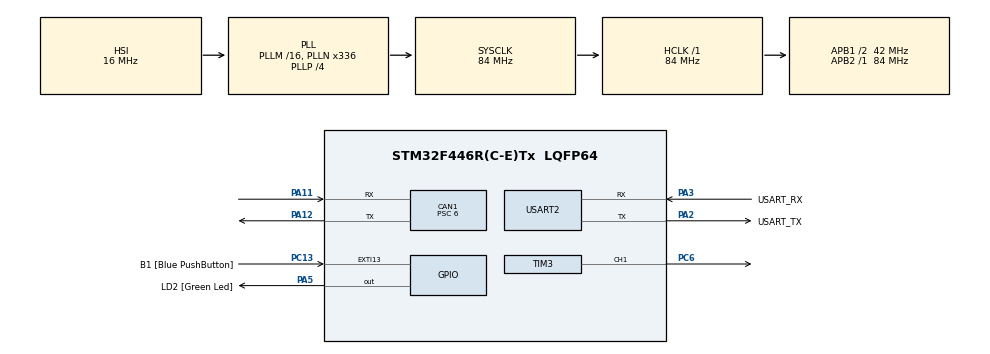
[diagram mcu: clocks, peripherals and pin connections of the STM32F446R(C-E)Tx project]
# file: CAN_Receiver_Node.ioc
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CAN1.ABOM=ENABLE
CAN1.BS1=CAN_BS1_11TQ
CAN1.BS2=CAN_BS2_2TQ
CAN1.CalculateBaudRate=500000
CAN1.CalculateTimeBit=2000
CAN1.CalculateTimeQuantum=142.85714285714286
CAN1.NART=ENABLE
CAN1.Prescaler=6
Mcu.Family=STM32F4
Mcu.Name=STM32F446R(C-E)Tx
Mcu.Package=LQFP64
NVIC.CAN1_RX0_IRQn=true\:0\:0\:false\:false\:true\:true\:true\:true
NVIC.PriorityGroup=NVIC_PRIORITYGROUP_0
PA11.Mode=CAN_Activate
PA11.Signal=CAN1_RX
PA12.Mode=CAN_Activate
PA12.Signal=CAN1_TX
PA13.GPIO_Label=TMS
PA13.Mode=Serial_Wire
PA13.Signal=SYS_JTMS-SWDIO
PA14.GPIO_Label=TCK
PA14.Mode=Serial_Wire
PA14.Signal=SYS_JTCK-SWCLK
PA2.GPIO_Label=USART_TX
PA2.Mode=Asynchronous
PA2.Signal=USART2_TX
PA3.GPIO_Label=USART_RX
PA3.Mode=Asynchronous
PA3.Signal=USART2_RX
PA5.GPIO_Label=LD2 [Green Led]
PA5.Signal=GPIO_Output
PB3.GPIO_Label=SWO
PB3.Signal=SYS_JTDO-SWO
PC13.GPIO_Label=B1 [Blue PushButton]
PC13.GPIO_ModeDefaultEXTI=GPIO_MODE_IT_FALLING
PC13.Signal=GPXTI13
PC14-OSC32_IN.Mode=LSE-External-Oscillator
PC14-OSC32_IN.Signal=RCC_OSC32_IN
PC15-OSC32_OUT.Mode=LSE-External-Oscillator
PC15-OSC32_OUT.Signal=RCC_OSC32_OUT
PC6.Signal=S_TIM3_CH1
PH0-OSC_IN.Mode=HSE-External-Oscillator
PH0-OSC_IN.Signal=RCC_OSC_IN
PH1-OSC_OUT.Mode=HSE-External-Oscillator
PH1-OSC_OUT.Signal=RCC_OSC_OUT
ProjectManager.HeapSize=0x200
ProjectManager.StackSize=0x400
ProjectManager.TargetToolchain=STM32CubeIDE
RCC.48MHZClocksFreq_Value=84000000
RCC.AHBFreq_Value=84000000
RCC.APB1CLKDivider=RCC_HCLK_DIV2
RCC.APB1Freq_Value=42000000
RCC.APB1TimFreq_Value=84000000
RCC.APB2Freq_Value=84000000
RCC.APB2TimFreq_Value=84000000
RCC.CortexFreq_Value=84000000
RCC.FLatency-AdvancedSettings=FLASH_LATENCY_2
RCC.HCLKFreq_Value=84000000
RCC.HSE_VALUE=8000000
RCC.HSI_VALUE=16000000
RCC.PLLN=336
RCC.PLLP=RCC_PLLP_DIV4
RCC.SYSCLKFreq_VALUE=84000000
RCC.SYSCLKSource=RCC_SYSCLKSOURCE_PLLCLK
RCC.USBFreq_Value=168000000
RCC.VCOOutputFreq_Value=336000000
SH.S_TIM3_CH1.0=TIM3_CH1,PWM Generation1 CH1
TIM3.Channel-PWM\ Generation1\ CH1=TIM_CHANNEL_1
TIM3.Period=20000-1
TIM3.Prescaler=84-1
USART2.VirtualMode=VM_ASYNC
VP_TIM3_VS_ClockSourceINT.Mode=Internal
board=NUCLEO-F446RE

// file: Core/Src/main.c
/* USER CODE BEGIN Header */
/**
  ******************************************************************************
  * RECEIVER NODE CODE
  * @file           : main.c
  * @brief          : CAN Receiver Node (Node B)
  ******************************************************************************
  */
/* USER CODE END Header */
#include "main.h"

/* USER CODE BEGIN Includes */
#include <stdio.h>
#include "crc8.h"
/* USER CODE END Includes */

CAN_HandleTypeDef hcan1;

TIM_HandleTypeDef htim3;

UART_HandleTypeDef huart2;

/* USER CODE BEGIN PV */
CAN_RxHeaderTypeDef rx_header;
uint8_t rx_data[8] = {0};
volatile uint8_t can_rx_flag = 0;

/* Day 9 integrity tracking */
static uint8_t  expected_counter = 0;
static uint8_t  first_frame      = 1;
uint32_t rx_received   = 0;
uint32_t rx_lost       = 0;
uint32_t rx_crc_errors = 0;

/* Heartbeat tracking */
volatile uint8_t hb_rx_flag = 0;
uint8_t  hb_rx_data[2] = {0};
uint32_t hb_count = 0;
uint32_t last_hb_tick = 0;

/* Servo PWM pulse widths (µs) — TIM3_CH1 CCR maps 1:1 to microseconds */
#define SERVO_HOME      1000   /* 0°   — boot reference/home position */
#define SERVO_NORMAL    1167   /* 30°  */
#define SERVO_WARNING   1333   /* 60°  */
#define SERVO_CRITICAL  1500   /* 90°  */
#define SERVO_SAFE      2000   /* 180° — fail-safe full-open */

/* Rate-limited movement: step size and delay bound inrush current so the
   SG90 can run off the Nucleo 5V rail without browning out the board. */
#define SERVO_STEP_US      20   /* µs of pulse change per step  */
#define SERVO_STEP_DELAY    5   /* ms between steps             */

static uint16_t servo_current_us = SERVO_HOME;  /* tracks last commanded position */

/* Safe-state / watchdog tracking */
#define HEARTBEAT_TIMEOUT_MS  500
#define WATCHDOG_GRACE_MS     1000   /* no safe-state entry during first second after boot */
static uint8_t  in_safe_state = 0;
uint32_t watchdog_trips = 0;
static uint32_t last_safe_blink = 0;
/* USER CODE END PV */

void SystemClock_Config(void);
static void MX_GPIO_Init(void);
static void MX_CAN1_Init(void);
static void MX_USART2_UART_Init(void);
static void MX_TIM3_Init(void);
/* USER CODE BEGIN PFP */
int _write(int file, char *ptr, int len);
void CAN_ReceiverInit(void);
void servo_write(uint16_t pulse_us);
void servo_move_to(uint16_t target_us);
/* USER CODE END PFP */

int main(void)
{

  /* MCU Configuration--------------------------------------------------------*/

  /* Reset of all peripherals, Initializes the Flash interface and the Systick. */
  HAL_Init();

  /* Configure the system clock */
  SystemClock_Config();

  /* Initialize all configured peripherals */
  MX_GPIO_Init();
  MX_CAN1_Init();
  MX_USART2_UART_Init();
  MX_TIM3_Init();
  /* USER CODE BEGIN 2 */
  printf("\r\n=== CAN_Receiver_Node (Node B) booted ===\r\n");

  CAN_ReceiverInit();

  HAL_TIM_PWM_Start(&htim3, TIM_CHANNEL_1);

  /* Home the servo to 0° as a known reference position, then move to NORMAL.
     Both moves are rate-limited to avoid browning out the Nucleo 5V rail. */
  servo_write(SERVO_HOME);          /* snap internal state to home  */
  HAL_Delay(400);                   /* let it settle visibly at 0°  */
  servo_move_to(SERVO_NORMAL);      /* gradual move to 30°          */
  printf("Servo homed to 0 deg, moved to NORMAL (30 deg) on TIM3_CH1 (PC6).\r\n");

  /* Seed the heartbeat timestamp so we don't trip safe state before the first beat */
  last_hb_tick = HAL_GetTick();

  printf("CAN ready. Validating CRC + counter integrity + heartbeat watchdog...\r\n\r\n");
  /* USER CODE END 2 */

  /* Infinite loop */
  while (1)
  {

    /* USER CODE BEGIN 3 */

      /* ---- Sensor frame handling (Day 9) ---- */
      if (can_rx_flag)
      {
          can_rx_flag = 0;

          uint8_t rx_counter = rx_data[0];
          uint8_t crc_calc   = crc8_compute(rx_data, 7);
          uint8_t crc_recv   = rx_data[7];

          if (crc_calc != crc_recv)
          {
              rx_crc_errors++;
              printf("[%lu ms] CRC FAIL cnt=%u recv=0x%02X calc=0x%02X | recv=%lu lost=%lu crcErr=%lu\r\n",
                     HAL_GetTick(), rx_counter, crc_recv, crc_calc,
                     rx_received, rx_lost, rx_crc_errors);
          }
          else
          {
              if (first_frame) {
                  first_frame = 0;
              } else {
                  uint8_t gap = (uint8_t)(rx_counter - expected_counter);
                  if (gap > 0) {
                      rx_lost += gap;
                      printf(">>> LOST %u frame(s) (expected %u, got %u)\r\n",
                             gap, expected_counter, rx_counter);
                  }
              }
              expected_counter = (uint8_t)(rx_counter + 1);
              rx_received++;

              int8_t  temp_int  = (int8_t)rx_data[1];
              uint8_t temp_frac = rx_data[2];
              uint8_t state     = rx_data[3];

              printf("[%lu ms] RX cnt=%u T=%d.%02u st=%u OK | recv=%lu lost=%lu crcErr=%lu\r\n",
                     HAL_GetTick(), rx_counter, temp_int, temp_frac, state,
                     rx_received, rx_lost, rx_crc_errors);
          }
      }

      /* ---- Heartbeat handling (Day 10) ---- */
      if (hb_rx_flag)
      {
          hb_rx_flag = 0;
          hb_count++;
          last_hb_tick = HAL_GetTick();
          printf("  <HB #%u recv @ %lu ms, uptime_lo=%u>\r\n",
                 hb_rx_data[0], last_hb_tick, hb_rx_data[1]);
      }

      /* ---- Heartbeat-timeout watchdog + safe state (Day 11) ---- */
      uint32_t now = HAL_GetTick();
      uint32_t since_hb = now - last_hb_tick;

      /* Grace period: no safe-state entry during the first second after boot. */
      if (now > WATCHDOG_GRACE_MS && since_hb > HEARTBEAT_TIMEOUT_MS)
      {
          if (!in_safe_state)
          {
              in_safe_state = 1;
              watchdog_trips++;
              printf("\r\n*** SAFE STATE: heartbeat timeout (%lu ms) — servo->SAFE, trips=%lu ***\r\n",
                     since_hb, watchdog_trips);
              servo_move_to(SERVO_SAFE);   /* gradual move to 180° fail-safe */
          }

          if (now - last_safe_blink >= 100)
          {
              last_safe_blink = now;
              HAL_GPIO_TogglePin(LD2_GPIO_Port, LD2_Pin);
          }
      }
      else
      {
          if (in_safe_state)
          {
              in_safe_state = 0;
              printf("\r\n*** RECOVERED: heartbeat restored — resuming normal operation ***\r\n");
          }

          switch (rx_data[3])
          {
              case 0:  servo_move_to(SERVO_NORMAL);   break;
              case 1:  servo_move_to(SERVO_WARNING);  break;
              case 2:  servo_move_to(SERVO_CRITICAL); break;
              default: servo_move_to(SERVO_NORMAL);   break;
          }
      }

      HAL_Delay(5);
  }
  /* USER CODE END 3 */
}

void SystemClock_Config(void)
{
  RCC_OscInitTypeDef RCC_OscInitStruct = {0};
  RCC_ClkInitTypeDef RCC_ClkInitStruct = {0};

  /** Configure the main internal regulator output voltage
  */
  __HAL_RCC_PWR_CLK_ENABLE();
  __HAL_PWR_VOLTAGESCALING_CONFIG(PWR_REGULATOR_VOLTAGE_SCALE3);

  /** Initializes the RCC Oscillators according to the specified parameters
  * in the RCC_OscInitTypeDef structure.
  */
  RCC_OscInitStruct.OscillatorType = RCC_OSCILLATORTYPE_HSI;
  RCC_OscInitStruct.HSIState = RCC_HSI_ON;
  RCC_OscInitStruct.HSICalibrationValue = RCC_HSICALIBRATION_DEFAULT;
  RCC_OscInitStruct.PLL.PLLState = RCC_PLL_ON;
  RCC_OscInitStruct.PLL.PLLSource = RCC_PLLSOURCE_HSI;
  RCC_OscInitStruct.PLL.PLLM = 16;
  RCC_OscInitStruct.PLL.PLLN = 336;
  RCC_OscInitStruct.PLL.PLLP = RCC_PLLP_DIV4;
  RCC_OscInitStruct.PLL.PLLQ = 2;
  RCC_OscInitStruct.PLL.PLLR = 2;
  if (HAL_RCC_OscConfig(&RCC_OscInitStruct) != HAL_OK)
  {
    Error_Handler();
  }

  /** Initializes the CPU, AHB and APB buses clocks
  */
  RCC_ClkInitStruct.ClockType = RCC_CLOCKTYPE_HCLK|RCC_CLOCKTYPE_SYSCLK
                              |RCC_CLOCKTYPE_PCLK1|RCC_CLOCKTYPE_PCLK2;
  RCC_ClkInitStruct.SYSCLKSource = RCC_SYSCLKSOURCE_PLLCLK;
  RCC_ClkInitStruct.AHBCLKDivider = RCC_SYSCLK_DIV1;
  RCC_ClkInitStruct.APB1CLKDivider = RCC_HCLK_DIV2;
  RCC_ClkInitStruct.APB2CLKDivider = RCC_HCLK_DIV1;

  if (HAL_RCC_ClockConfig(&RCC_ClkInitStruct, FLASH_LATENCY_2) != HAL_OK)
  {
    Error_Handler();
  }
}

static void MX_CAN1_Init(void)
{

  hcan1.Instance = CAN1;
  hcan1.Init.Prescaler = 6;
  hcan1.Init.Mode = CAN_MODE_NORMAL;
  hcan1.Init.SyncJumpWidth = CAN_SJW_1TQ;
  hcan1.Init.TimeSeg1 = CAN_BS1_11TQ;
  hcan1.Init.TimeSeg2 = CAN_BS2_2TQ;
  hcan1.Init.TimeTriggeredMode = DISABLE;
  hcan1.Init.AutoBusOff = ENABLE;
  hcan1.Init.AutoWakeUp = DISABLE;
  hcan1.Init.AutoRetransmission = ENABLE;
  hcan1.Init.ReceiveFifoLocked = DISABLE;
  hcan1.Init.TransmitFifoPriority = DISABLE;
  if (HAL_CAN_Init(&hcan1) != HAL_OK)
  {
    Error_Handler();
  }

}

static void MX_TIM3_Init(void)
{

  TIM_ClockConfigTypeDef sClockSourceConfig = {0};
  TIM_MasterConfigTypeDef sMasterConfig = {0};
  TIM_OC_InitTypeDef sConfigOC = {0};

  htim3.Instance = TIM3;
  htim3.Init.Prescaler = 84-1;
  htim3.Init.CounterMode = TIM_COUNTERMODE_UP;
  htim3.Init.Period = 20000-1;
  htim3.Init.ClockDivision = TIM_CLOCKDIVISION_DIV1;
  htim3.Init.AutoReloadPreload = TIM_AUTORELOAD_PRELOAD_DISABLE;
  if (HAL_TIM_Base_Init(&htim3) != HAL_OK)
  {
    Error_Handler();
  }
  sClockSourceConfig.ClockSource = TIM_CLOCKSOURCE_INTERNAL;
  if (HAL_TIM_ConfigClockSource(&htim3, &sClockSourceConfig) != HAL_OK)
  {
    Error_Handler();
  }
  if (HAL_TIM_PWM_Init(&htim3) != HAL_OK)
  {
    Error_Handler();
  }
  sMasterConfig.MasterOutputTrigger = TIM_TRGO_RESET;
  sMasterConfig.MasterSlaveMode = TIM_MASTERSLAVEMODE_DISABLE;
  if (HAL_TIMEx_MasterConfigSynchronization(&htim3, &sMasterConfig) != HAL_OK)
  {
    Error_Handler();
  }
  sConfigOC.OCMode = TIM_OCMODE_PWM1;
  sConfigOC.Pulse = 0;
  sConfigOC.OCPolarity = TIM_OCPOLARITY_HIGH;
  sConfigOC.OCFastMode = TIM_OCFAST_DISABLE;
  if (HAL_TIM_PWM_ConfigChannel(&htim3, &sConfigOC, TIM_CHANNEL_1) != HAL_OK)
  {
    Error_Handler();
  }
  HAL_TIM_MspPostInit(&htim3);

}

static void MX_USART2_UART_Init(void)
{

  huart2.Instance = USART2;
  huart2.Init.BaudRate = 115200;
  huart2.Init.WordLength = UART_WORDLENGTH_8B;
  huart2.Init.StopBits = UART_STOPBITS_1;
  huart2.Init.Parity = UART_PARITY_NONE;
  huart2.Init.Mode = UART_MODE_TX_RX;
  huart2.Init.HwFlowCtl = UART_HWCONTROL_NONE;
  huart2.Init.OverSampling = UART_OVERSAMPLING_16;
  if (HAL_UART_Init(&huart2) != HAL_OK)
  {
    Error_Handler();
  }

}

static void MX_GPIO_Init(void)
{
  GPIO_InitTypeDef GPIO_InitStruct = {0};

  /* GPIO Ports Clock Enable */
  __HAL_RCC_GPIOC_CLK_ENABLE();
  __HAL_RCC_GPIOH_CLK_ENABLE();
  __HAL_RCC_GPIOA_CLK_ENABLE();
  __HAL_RCC_GPIOB_CLK_ENABLE();

  /*Configure GPIO pin Output Level */
  HAL_GPIO_WritePin(LD2_GPIO_Port, LD2_Pin, GPIO_PIN_RESET);

  /*Configure GPIO pin : B1_Pin */
  GPIO_InitStruct.Pin = B1_Pin;
  GPIO_InitStruct.Mode = GPIO_MODE_IT_FALLING;
  GPIO_InitStruct.Pull = GPIO_NOPULL;
  HAL_GPIO_Init(B1_GPIO_Port, &GPIO_InitStruct);

  /*Configure GPIO pin : LD2_Pin */
  GPIO_InitStruct.Pin = LD2_Pin;
  GPIO_InitStruct.Mode = GPIO_MODE_OUTPUT_PP;
  GPIO_InitStruct.Pull = GPIO_NOPULL;
  GPIO_InitStruct.Speed = GPIO_SPEED_FREQ_LOW;
  HAL_GPIO_Init(LD2_GPIO_Port, &GPIO_InitStruct);

}

/* USER CODE BEGIN 4 */

int _write(int file, char *ptr, int len)
{
    HAL_UART_Transmit(&huart2, (uint8_t*)ptr, len, HAL_MAX_DELAY);
    return len;
}

void CAN_ReceiverInit(void)
{
    CAN_FilterTypeDef filter;

    filter.FilterBank = 0;
    filter.FilterMode = CAN_FILTERMODE_IDMASK;
    filter.FilterScale = CAN_FILTERSCALE_32BIT;

    filter.FilterIdHigh = 0x0000;
    filter.FilterIdLow = 0x0000;

    filter.FilterMaskIdHigh = 0x0000;
    filter.FilterMaskIdLow = 0x0000;

    filter.FilterFIFOAssignment = CAN_RX_FIFO0;
    filter.FilterActivation = ENABLE;
    filter.SlaveStartFilterBank = 14;

    HAL_CAN_ConfigFilter(&hcan1, &filter);

    HAL_CAN_Start(&hcan1);

    HAL_CAN_ActivateNotification(
        &hcan1,
        CAN_IT_RX_FIFO0_MSG_PENDING);
}

/* Immediate (un-ramped) write — also syncs the tracked position. */
void servo_write(uint16_t pulse_us)
{
    __HAL_TIM_SET_COMPARE(&htim3, TIM_CHANNEL_1, pulse_us);
    servo_current_us = pulse_us;
}

/* Rate-limited move: step gradually from the current position to the target,
   bounding inrush current so the SG90 runs off the Nucleo 5V rail without
   browning out the board. No-op if already at the target. */
void servo_move_to(uint16_t target_us)
{
    while (servo_current_us != target_us)
    {
        if (target_us > servo_current_us)
        {
            servo_current_us = (target_us - servo_current_us > SERVO_STEP_US)
                               ? servo_current_us + SERVO_STEP_US : target_us;
        }
        else
        {
            servo_current_us = (servo_current_us - target_us > SERVO_STEP_US)
                               ? servo_current_us - SERVO_STEP_US : target_us;
        }
        __HAL_TIM_SET_COMPARE(&htim3, TIM_CHANNEL_1, servo_current_us);
        HAL_Delay(SERVO_STEP_DELAY);
    }
}

void HAL_CAN_RxFifo0MsgPendingCallback(CAN_HandleTypeDef *hcan)
{
    CAN_RxHeaderTypeDef hdr;
    uint8_t data[8];

    if (HAL_CAN_GetRxMessage(hcan, CAN_RX_FIFO0, &hdr, data) == HAL_OK)
    {
        if (hdr.StdId == 0x100) {          /* heartbeat */
            hb_rx_data[0] = data[0];
            hb_rx_data[1] = data[1];
            hb_rx_flag = 1;
        } else {                           /* sensor frame (0x123) */
            rx_header = hdr;
            for (int i = 0; i < 8; i++) rx_data[i] = data[i];
            can_rx_flag = 1;
        }
    }
}

/* USER CODE END 4 */

void Error_Handler(void)
{
  __disable_irq();
  while (1)
  {
  }
}
